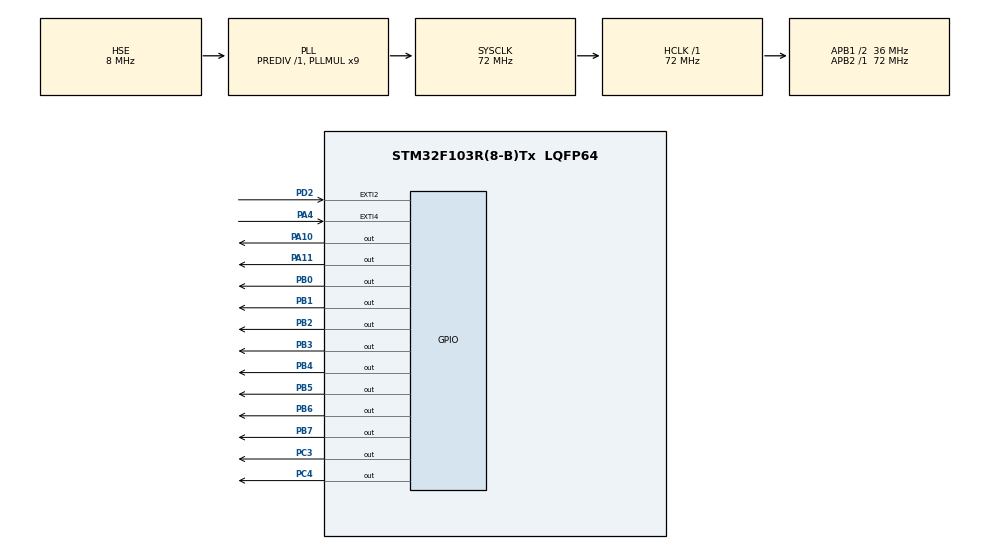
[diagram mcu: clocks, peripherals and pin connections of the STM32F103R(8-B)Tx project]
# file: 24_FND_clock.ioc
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Mcu.Family=STM32F1
Mcu.Name=STM32F103R(8-B)Tx
Mcu.Package=LQFP64
NVIC.EXTI2_IRQn=true\:0\:0\:false\:false\:true\:true\:true\:true
NVIC.EXTI4_IRQn=true\:0\:0\:false\:false\:true\:true\:true\:true
NVIC.PriorityGroup=NVIC_PRIORITYGROUP_4
PA10.Signal=GPIO_Output
PA11.Signal=GPIO_Output
PA13.Mode=Serial_Wire
PA13.Signal=SYS_JTMS-SWDIO
PA14.Mode=Serial_Wire
PA14.Signal=SYS_JTCK-SWCLK
PA4.GPIO_ModeDefaultEXTI=GPIO_MODE_IT_FALLING
PA4.Signal=GPXTI4
PB0.Signal=GPIO_Output
PB1.Signal=GPIO_Output
PB2.Signal=GPIO_Output
PB3.Signal=GPIO_Output
PB4.Signal=GPIO_Output
PB5.Signal=GPIO_Output
PB6.Signal=GPIO_Output
PB7.Signal=GPIO_Output
PC14-OSC32_IN.Mode=LSE-External-Oscillator
PC14-OSC32_IN.Signal=RCC_OSC32_IN
PC15-OSC32_OUT.Mode=LSE-External-Oscillator
PC15-OSC32_OUT.Signal=RCC_OSC32_OUT
PC3.Signal=GPIO_Output
PC4.Signal=GPIO_Output
PD0-OSC_IN.Mode=HSE-External-Clock-Source
PD0-OSC_IN.Signal=RCC_OSC_IN
PD1-OSC_OUT.Mode=HSE-External-Clock-Source
PD1-OSC_OUT.Signal=RCC_OSC_OUT
PD2.GPIO_ModeDefaultEXTI=GPIO_MODE_IT_FALLING
PD2.Signal=GPXTI2
ProjectManager.HeapSize=0x200
ProjectManager.StackSize=0x400
ProjectManager.TargetToolchain=STM32CubeIDE
RCC.AHBFreq_Value=72000000
RCC.APB1CLKDivider=RCC_HCLK_DIV2
RCC.APB1Freq_Value=36000000
RCC.APB1TimFreq_Value=72000000
RCC.APB2Freq_Value=72000000
RCC.APB2TimFreq_Value=72000000
RCC.HCLKFreq_Value=72000000
RCC.PLLMUL=RCC_PLL_MUL9
RCC.PLLSourceVirtual=RCC_PLLSOURCE_HSE
RCC.SYSCLKFreq_VALUE=72000000
RCC.SYSCLKSource=RCC_SYSCLKSOURCE_PLLCLK
RCC.USBFreq_Value=72000000
board=custom

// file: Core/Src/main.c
	/* USER CODE BEGIN Header */
/**
 ******************************************************************************
 * @file           : main.c
 * @brief          : Main program body
 ******************************************************************************
 * @attention
 *
 * Copyright (c) 2023 STMicroelectronics.
 * All rights reserved.
 *
 * This software is licensed under terms that can be found in the LICENSE file
 * in the root directory of this software component.
 * If no LICENSE file comes with this software, it is provided AS-IS.
 *
 ******************************************************************************
 */
/* USER CODE END Header */
#include "main.h"

/* USER CODE BEGIN PV */
uint8_t number[] =
		{ 0x3f, 0x06, 0x5b, 0x4f, 0x66, 0x6d, 0x7d, 0x07, 0x7f, 0x67 };
volatile uint32_t hour = 23, minute = 59;
volatile uint32_t cur_tick = 0, pre_tick = 0;

/* USER CODE END PV */

void SystemClock_Config(void);
static void MX_GPIO_Init(void);

/* USER CODE BEGIN 0 */
typedef struct fnd {
	GPIO_TypeDef *port;
	uint16_t pin;
} FND;
FND value[8] = {{ GPIOB, GPIO_PIN_0 }, { GPIOB, GPIO_PIN_1 },
				{ GPIOB,GPIO_PIN_2 }, { GPIOB, GPIO_PIN_3 },
				{ GPIOB, GPIO_PIN_4 }, { GPIOB,GPIO_PIN_5 },
				{ GPIOB, GPIO_PIN_6 }, { GPIOB, GPIO_PIN_7 } };
FND sel[4] = { { GPIOA, GPIO_PIN_10 }, { GPIOA, GPIO_PIN_11 },
				{ GPIOC,GPIO_PIN_4 }, { GPIOC, GPIO_PIN_3 } };
void display_fnd(uint8_t data, uint8_t position, uint32_t time) {
	int i;
	for (i = 0; i < 4; i++) {
		if (i == position)
			HAL_GPIO_WritePin(sel[i].port, sel[i].pin, 1);
		else
			HAL_GPIO_WritePin(sel[i].port, sel[i].pin, 0);
	}
	for (i = 0; i < 8; i++) {
		if ((data & (1 << i)) != 0)
			HAL_GPIO_WritePin(value[i].port, value[i].pin, 1);
		else
			HAL_GPIO_WritePin(value[i].port, value[i].pin, 0);
	}
	HAL_Delay(time);
}

/* USER CODE END 0 */

int main(void) {

	/* MCU Configuration--------------------------------------------------------*/

	/* Reset of all peripherals, Initializes the Flash interface and the Systick. */
	HAL_Init();

	/* Configure the system clock */
	SystemClock_Config();

	/* Initialize all configured peripherals */
	MX_GPIO_Init();

	/* Infinite loop */
	/* USER CODE BEGIN WHILE */
	while (1) {
		cur_tick = HAL_GetTick();
		if(cur_tick - pre_tick >= 1000){
			pre_tick = cur_tick;
			if(minute == 0){
				if(hour != 0){
					hour--;
					minute = 59;
				}
			}else{
				minute--;
			}

		}
	    display_fnd(number[hour/10], 3, 5);
	    display_fnd(number[(hour%10)]|0x80, 2, 5);
	    display_fnd(number[minute/10], 1, 5);
	    display_fnd(number[minute%10], 0, 5);
		/* USER CODE END WHILE */

	}
}

void SystemClock_Config(void) {
	RCC_OscInitTypeDef RCC_OscInitStruct = { 0 };
	RCC_ClkInitTypeDef RCC_ClkInitStruct = { 0 };

	/** Initializes the RCC Oscillators according to the specified parameters
	 * in the RCC_OscInitTypeDef structure.
	 */
	RCC_OscInitStruct.OscillatorType = RCC_OSCILLATORTYPE_HSE;
	RCC_OscInitStruct.HSEState = RCC_HSE_BYPASS;
	RCC_OscInitStruct.HSEPredivValue = RCC_HSE_PREDIV_DIV1;
	RCC_OscInitStruct.HSIState = RCC_HSI_ON;
	RCC_OscInitStruct.PLL.PLLState = RCC_PLL_ON;
	RCC_OscInitStruct.PLL.PLLSource = RCC_PLLSOURCE_HSE;
	RCC_OscInitStruct.PLL.PLLMUL = RCC_PLL_MUL9;
	if (HAL_RCC_OscConfig(&RCC_OscInitStruct) != HAL_OK) {
		Error_Handler();
	}

	/** Initializes the CPU, AHB and APB buses clocks
	 */
	RCC_ClkInitStruct.ClockType = RCC_CLOCKTYPE_HCLK | RCC_CLOCKTYPE_SYSCLK
			| RCC_CLOCKTYPE_PCLK1 | RCC_CLOCKTYPE_PCLK2;
	RCC_ClkInitStruct.SYSCLKSource = RCC_SYSCLKSOURCE_PLLCLK;
	RCC_ClkInitStruct.AHBCLKDivider = RCC_SYSCLK_DIV1;
	RCC_ClkInitStruct.APB1CLKDivider = RCC_HCLK_DIV2;
	RCC_ClkInitStruct.APB2CLKDivider = RCC_HCLK_DIV1;

	if (HAL_RCC_ClockConfig(&RCC_ClkInitStruct, FLASH_LATENCY_2) != HAL_OK) {
		Error_Handler();
	}
}

static void MX_GPIO_Init(void) {
	GPIO_InitTypeDef GPIO_InitStruct = { 0 };

	/* GPIO Ports Clock Enable */
	__HAL_RCC_GPIOC_CLK_ENABLE();
	__HAL_RCC_GPIOD_CLK_ENABLE();
	__HAL_RCC_GPIOA_CLK_ENABLE();
	__HAL_RCC_GPIOB_CLK_ENABLE();

	/*Configure GPIO pin Output Level */
	HAL_GPIO_WritePin(GPIOC, GPIO_PIN_3 | GPIO_PIN_4, GPIO_PIN_RESET);

	/*Configure GPIO pin Output Level */
	HAL_GPIO_WritePin(GPIOB,
			GPIO_PIN_0 | GPIO_PIN_1 | GPIO_PIN_2 | GPIO_PIN_3 | GPIO_PIN_4
					| GPIO_PIN_5 | GPIO_PIN_6 | GPIO_PIN_7, GPIO_PIN_RESET);

	/*Configure GPIO pin Output Level */
	HAL_GPIO_WritePin(GPIOA, GPIO_PIN_10 | GPIO_PIN_11, GPIO_PIN_RESET);

	/*Configure GPIO pins : PC3 PC4 */
	GPIO_InitStruct.Pin = GPIO_PIN_3 | GPIO_PIN_4;
	GPIO_InitStruct.Mode = GPIO_MODE_OUTPUT_PP;
	GPIO_InitStruct.Pull = GPIO_NOPULL;
	GPIO_InitStruct.Speed = GPIO_SPEED_FREQ_LOW;
	HAL_GPIO_Init(GPIOC, &GPIO_InitStruct);

	/*Configure GPIO pin : PA4 */
	GPIO_InitStruct.Pin = GPIO_PIN_4;
	GPIO_InitStruct.Mode = GPIO_MODE_IT_FALLING;
	GPIO_InitStruct.Pull = GPIO_NOPULL;
	HAL_GPIO_Init(GPIOA, &GPIO_InitStruct);

	/*Configure GPIO pins : PB0 PB1 PB2 PB3
	 PB4 PB5 PB6 PB7 */
	GPIO_InitStruct.Pin = GPIO_PIN_0 | GPIO_PIN_1 | GPIO_PIN_2 | GPIO_PIN_3
			| GPIO_PIN_4 | GPIO_PIN_5 | GPIO_PIN_6 | GPIO_PIN_7;
	GPIO_InitStruct.Mode = GPIO_MODE_OUTPUT_PP;
	GPIO_InitStruct.Pull = GPIO_NOPULL;
	GPIO_InitStruct.Speed = GPIO_SPEED_FREQ_LOW;
	HAL_GPIO_Init(GPIOB, &GPIO_InitStruct);

	/*Configure GPIO pins : PA10 PA11 */
	GPIO_InitStruct.Pin = GPIO_PIN_10 | GPIO_PIN_11;
	GPIO_InitStruct.Mode = GPIO_MODE_OUTPUT_PP;
	GPIO_InitStruct.Pull = GPIO_NOPULL;
	GPIO_InitStruct.Speed = GPIO_SPEED_FREQ_LOW;
	HAL_GPIO_Init(GPIOA, &GPIO_InitStruct);

	/*Configure GPIO pin : PD2 */
	GPIO_InitStruct.Pin = GPIO_PIN_2;
	GPIO_InitStruct.Mode = GPIO_MODE_IT_FALLING;
	GPIO_InitStruct.Pull = GPIO_NOPULL;
	HAL_GPIO_Init(GPIOD, &GPIO_InitStruct);

	/* EXTI interrupt init*/
	HAL_NVIC_SetPriority(EXTI2_IRQn, 0, 0);
	HAL_NVIC_EnableIRQ(EXTI2_IRQn);

	HAL_NVIC_SetPriority(EXTI4_IRQn, 0, 0);
	HAL_NVIC_EnableIRQ(EXTI4_IRQn);

}

/* USER CODE BEGIN 4 */
void HAL_GPIO_EXTI_Callback(uint16_t GPIO_Pin){
	if(!HAL_GPIO_ReadPin(GPIOA, GPIO_PIN_4)){
		if(hour != 0){
			hour--;
		} else {
			hour = 23;
		}
	}
	if(!HAL_GPIO_ReadPin(GPIOD, GPIO_PIN_2)){
		if(minute != 0){
			minute--;
		} else {
			minute = 59;
		}
	}
}
/* USER CODE END 4 */

void Error_Handler(void) {
	__disable_irq();
	while (1) {
	}
}
